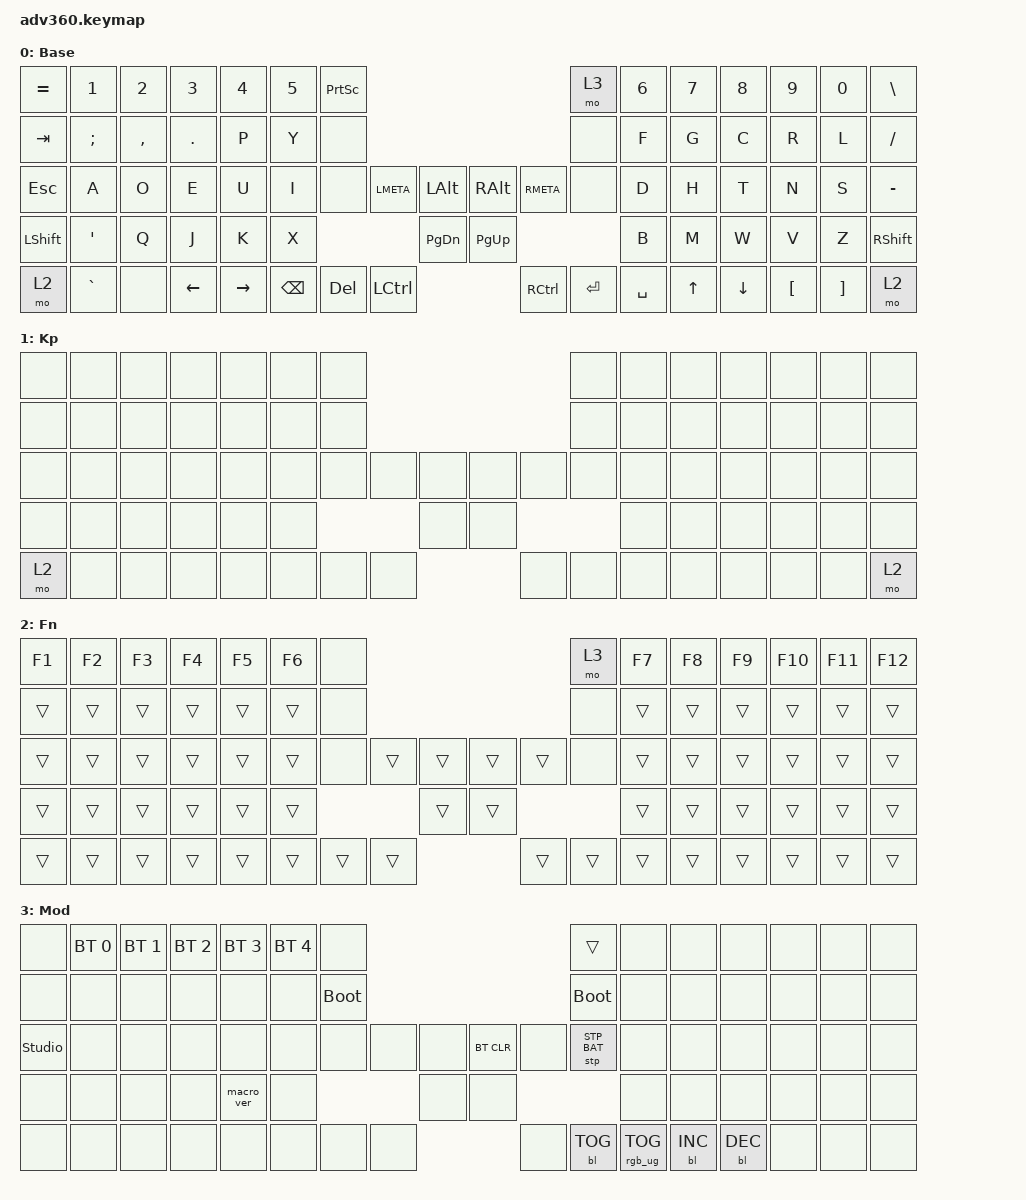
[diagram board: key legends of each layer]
#include <behaviors.dtsi>
#include <dt-bindings/zmk/keys.h>
#include <dt-bindings/zmk/bt.h>
#include <dt-bindings/zmk/rgb.h>
#include <dt-bindings/zmk/stp.h>
#include <dt-bindings/zmk/backlight.h>
#include <dt-bindings/zmk/pointing.h>

/ {
    behaviors {
      #include "macros.dtsi"
      #include "version.dtsi"

      hm: homerow_mods {
          compatible = "zmk,behavior-hold-tap";
          label = "HOMEROW_MODS";
          #binding-cells = <2>;
          tapping-term-ms = <200>;
          quick_tap_ms = <175>;
          flavor = "tap-preferred";
          bindings = <&kp>, <&kp>;
      };
    };

  keymap {
    compatible = "zmk,keymap";

    default_layer {
      display-name = "Base";
      bindings = <
        &kp EQUAL &kp N1    &kp N2    &kp N3   &kp N4     &kp N5 &kp PSCRN                                                                  &mo 3 &kp N6 &kp N7 &kp N8    &kp N9   &kp N0   &kp BSLH
        &kp TAB   &kp SEMI  &kp COMMA &kp DOT  &kp P      &kp Y  &none                                                                      &none &kp F  &kp G  &kp C     &kp R    &kp L    &kp FSLH
        &kp ESC   &kp A     &kp O     &kp E    &kp U      &kp I  &none                &kp LMETA  &kp LALT   &kp RALT   &kp RMETA            &none &kp D  &kp H  &kp T     &kp N    &kp S    &kp MINUS
        &kp LSHFT &kp SQT   &kp Q     &kp J    &kp K      &kp X                                  &kp PG_DN  &kp PG_UP                             &kp B  &kp M  &kp W     &kp V    &kp Z    &kp RSHFT
        &mo 2     &kp GRAVE &none   &kp LEFT &kp RIGHT                      &kp BSPC  &kp DEL    &kp LCTRL  &kp RCTRL  &kp ENTER &kp SPACE               &kp UP &kp DOWN  &kp LBKT &kp RBKT &mo 2
      >;
    };
    keypad {
      display-name = "Kp";
      bindings = <
        &none &none        &none        &none        &none        &none        &none                                                               &none  &none        &none        &none        &none &none &none
        &none &none        &none        &none        &none        &none        &none                                                               &none  &none        &none        &none        &none &none &none
        &none &none        &none        &none        &none        &none        &none                   &none &none &none  &none                    &none  &none        &none        &none        &none &none &none
        &none &none        &none        &none        &none        &none                                      &none &none                                  &none        &none        &none        &none &none &none
        &mo 2 &none        &none        &none        &none                                       &none &none &none &none  &none  &none                                 &none        &none        &none &none &mo 2
      >;
    };
    fn {
      display-name = "Fn";
      bindings = <
        &kp F1 &kp F2 &kp F3 &kp F4 &kp F5 &kp F6  &none                                           &mo 3 &kp F7 &kp F8 &kp F9 &kp F10 &kp F11 &kp F12
        &trans &trans &trans &trans &trans &trans  &none                                           &none &trans &trans &trans &trans  &trans  &trans
        &trans &trans &trans &trans &trans &trans  &none        &trans &trans &trans &trans        &none &trans &trans &trans &trans  &trans  &trans
        &trans &trans &trans &trans &trans &trans                      &trans &trans                     &trans &trans &trans &trans  &trans  &trans
        &trans &trans &trans &trans &trans               &trans &trans &trans &trans &trans &trans              &trans &trans &trans  &trans  &trans
      >;
    };
    mod {
      display-name = "Mod";
      bindings = <
        &none &bt BT_SEL 0 &bt BT_SEL 1 &bt BT_SEL 2 &bt BT_SEL 3 &bt BT_SEL 4 &none                                                                     &trans                 &none        &none        &none        &none &none &none
        &none &none        &none        &none        &none        &none        &bootloader                                                               &bootloader            &none        &none        &none        &none &none &none
        &studio_unlock &none        &none        &none        &none        &none        &none                   &none &none &bt BT_CLR &none                      &stp STP_BAT &none        &none        &none        &none &none &none
        &none &none        &none        &none        &macro_ver   &none                                      &none &none                                                        &none        &none        &none        &none &none &none
        &none &none        &none        &none        &none                                       &none &none &none &none      &bl BL_TOG &rgb_ug RGB_TOG                                     &bl BL_INC   &bl BL_DEC   &none &none &none
      >;
    };
    extra1 { 
      display-name = "Red";    
      status = "reserved";
    };

    extra2 { 
      display-name = "Purple";    
      status = "reserved";
    };

    extra3 { 
      display-name = "Cyan";    
      status = "reserved";
    };

    extra4 { 
      display-name = "Yellow";    
      status = "reserved";
    };
  };
};
